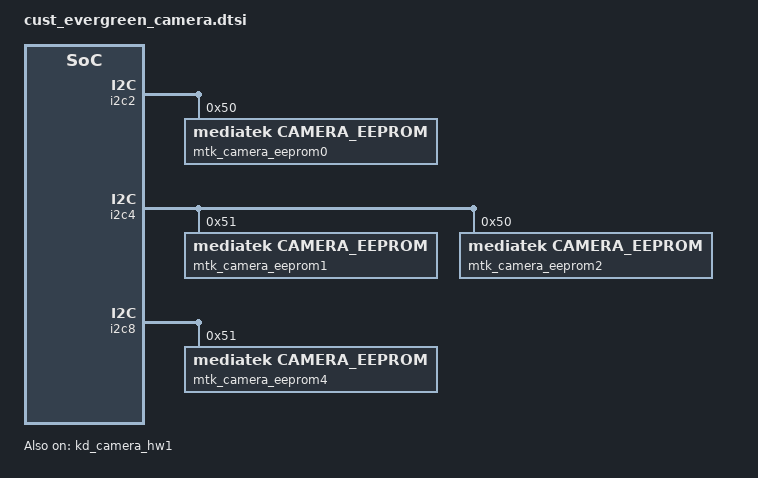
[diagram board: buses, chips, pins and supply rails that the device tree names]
/*
 * Copyright (c) 2019 MediaTek Inc.
 * Copyright (C) 2021 XiaoMi, Inc.
 *
 * This program is free software; you can redistribute it and/or modify
 * it under the terms of the GNU General Public License version 2 as
 * published by the Free Software Foundation.
 *
 * This program is distributed in the hope that it will be useful,
 * but WITHOUT ANY WARRANTY; without even the implied warranty of
 * MERCHANTABILITY or FITNESS FOR A PARTICULAR PURPOSE.  See the
 * GNU General Public License for more details.
 */
/* CAMERA GPIO standardization */
&pio {
	camera_pins_cam0_rst_0: cam0@0 {
		pins_cmd_dat {
			pinmux = <PINMUX_GPIO54__FUNC_GPIO54>;
			slew-rate = <1>;
			output-low;
		};
	};
	camera_pins_cam0_rst_1: cam0@1 {
		pins_cmd_dat {
			pinmux = <PINMUX_GPIO54__FUNC_GPIO54>;
			slew-rate = <1>;
			output-high;
		};
	};

	camera_pins_cam1_rst_0: cam1@0 {
		pins_cmd_dat {
			pinmux = <PINMUX_GPIO60__FUNC_GPIO60>;
			slew-rate = <1>;
			output-low;
		};
	};
	camera_pins_cam1_rst_1: cam1@1 {
		pins_cmd_dat {
			pinmux = <PINMUX_GPIO60__FUNC_GPIO60>;
			slew-rate = <1>;
			output-high;
		};
	};

	camera_pins_cam2_rst_0: cam2@0 {
		pins_cmd_dat {
			pinmux = <PINMUX_GPIO58__FUNC_GPIO58>;
			slew-rate = <1>;
			output-low;
		};
	};
	camera_pins_cam2_rst_1: cam2@1 {
		pins_cmd_dat {
			pinmux = <PINMUX_GPIO58__FUNC_GPIO58>;
			slew-rate = <1>;
			output-high;
		};
	};
	camera_pins_cam2_dvdd_off: ldo_vcamd2@0 {
		pins_cmd_dat {
			pinmux = <PINMUX_GPIO93__FUNC_GPIO93>;
			slew-rate = <1>;
			output-low;
		};
	};
	camera_pins_cam2_dvdd_on: ldo_vcamd2@1 {
		pins_cmd_dat {
			pinmux = <PINMUX_GPIO93__FUNC_GPIO93>;
			slew-rate = <1>;
			output-high;
		};
	};
	camera_pins_cam4_rst_0: cam4@0 {
		pins_cmd_dat {
			pinmux = <PINMUX_GPIO56__FUNC_GPIO56>;
			slew-rate = <1>;
			output-low;
		};
	};
	camera_pins_cam4_rst_1: cam4@1 {
		pins_cmd_dat {
			pinmux = <PINMUX_GPIO56__FUNC_GPIO56>;
			slew-rate = <1>;
			output-high;
		};
	};

	camera_pins_cam0_mclk_off: camera_pins_cam0_mclk_off {
		pins_cmd_dat {
			pinmux = <PINMUX_GPIO49__FUNC_GPIO49>;
			drive-strength = <1>;
		};
	};
	camera_pins_cam0_mclk_2ma: camera_pins_cam0_mclk_2ma {
		pins_cmd_dat {
			pinmux = <PINMUX_GPIO49__FUNC_CMMCLK0>;
			drive-strength = <0>;
		};
	};
	camera_pins_cam0_mclk_4ma: camera_pins_cam0_mclk_4ma {
		pins_cmd_dat {
			pinmux = <PINMUX_GPIO49__FUNC_CMMCLK0>;
			drive-strength = <1>;
		};
	};
	camera_pins_cam0_mclk_6ma: camera_pins_cam0_mclk_6ma {
		pins_cmd_dat {
			pinmux = <PINMUX_GPIO49__FUNC_CMMCLK0>;
			drive-strength = <2>;
		};
	};
	camera_pins_cam0_mclk_8ma: camera_pins_cam0_mclk_8ma {
		pins_cmd_dat {
			pinmux = <PINMUX_GPIO49__FUNC_CMMCLK0>;
			drive-strength = <3>;
		};
	};
	camera_pins_cam1_mclk_off: camera_pins_cam1_mclk_off {
		pins_cmd_dat {
			pinmux = <PINMUX_GPIO52__FUNC_GPIO52>;
			drive-strength = <1>;
		};
	};
	camera_pins_cam1_mclk_2ma: camera_pins_cam1_mclk_2ma {
		pins_cmd_dat {
			pinmux = <PINMUX_GPIO52__FUNC_CMMCLK3>;
			drive-strength = <0>;
		};
	};
	camera_pins_cam1_mclk_4ma: camera_pins_cam1_mclk_4ma {
		pins_cmd_dat {
			pinmux = <PINMUX_GPIO52__FUNC_CMMCLK3>;
			drive-strength = <1>;
		};
	};
	camera_pins_cam1_mclk_6ma: camera_pins_cam1_mclk_6ma {
		pins_cmd_dat {
			pinmux = <PINMUX_GPIO52__FUNC_CMMCLK3>;
			drive-strength = <2>;
		};
	};
	camera_pins_cam1_mclk_8ma: camera_pins_cam1_mclk_8ma {
		pins_cmd_dat {
			pinmux = <PINMUX_GPIO52__FUNC_CMMCLK3>;
			drive-strength = <3>;
		};
	};
	camera_pins_cam2_mclk_off: camera_pins_cam2_mclk_off {
		pins_cmd_dat {
			pinmux = <PINMUX_GPIO51__FUNC_GPIO51>;
			drive-strength = <1>;
		};
	};
	camera_pins_cam2_mclk_2ma: camera_pins_cam2_mclk_2ma {
		pins_cmd_dat {
			pinmux = <PINMUX_GPIO51__FUNC_CMMCLK2>;
			drive-strength = <0>;
		};
	};
	camera_pins_cam2_mclk_4ma: camera_pins_cam2_mclk_4ma {
		pins_cmd_dat {
			pinmux = <PINMUX_GPIO51__FUNC_CMMCLK2>;
			drive-strength = <1>;
		};
	};
	camera_pins_cam2_mclk_6ma: camera_pins_cam2_mclk_6ma {
		pins_cmd_dat {
			pinmux = <PINMUX_GPIO51__FUNC_CMMCLK2>;
			drive-strength = <2>;
		};
	};
	camera_pins_cam2_mclk_8ma: camera_pins_cam2_mclk_8ma {
		pins_cmd_dat {
			pinmux = <PINMUX_GPIO51__FUNC_CMMCLK2>;
			drive-strength = <3>;
		};
	};
	camera_pins_cam4_mclk_off: camera_pins_cam4_mclk_off {
		pins_cmd_dat {
			pinmux = <PINMUX_GPIO50__FUNC_GPIO50>;
			drive-strength = <1>;
		};
	};
	camera_pins_cam4_mclk_2ma: camera_pins_cam4_mclk_2ma {
		pins_cmd_dat {
			pinmux = <PINMUX_GPIO50__FUNC_CMMCLK1>;
			drive-strength = <0>;
		};
	};
	camera_pins_cam4_mclk_4ma: camera_pins_cam4_mclk_4ma {
		pins_cmd_dat {
			pinmux = <PINMUX_GPIO50__FUNC_CMMCLK1>;
			drive-strength = <1>;
		};
	};
	camera_pins_cam4_mclk_6ma: camera_pins_cam4_mclk_6ma {
		pins_cmd_dat {
			pinmux = <PINMUX_GPIO50__FUNC_CMMCLK1>;
			drive-strength = <2>;
		};
	};
	camera_pins_cam4_mclk_8ma: camera_pins_cam4_mclk_8ma {
		pins_cmd_dat {
			pinmux = <PINMUX_GPIO50__FUNC_CMMCLK1>;
			drive-strength = <3>;
		};
	};

	camera_pins_cam_mipi_switch_sel_1: mipi_sel@1 {
		pins_cmd_dat {
			pinmux = <PINMUX_GPIO43__FUNC_GPIO43>;
			slew-rate = <1>;
			output-high;
		};
	};
	camera_pins_cam_mipi_switch_sel_0: mipi_sel@0 {
		pins_cmd_dat {
			pinmux = <PINMUX_GPIO43__FUNC_GPIO43>;
			slew-rate = <1>;
			output-low;
		};
	};
	// camera1 GPIO supply
        camera_pins_cam1_dvdd_off: ldo_vcamd@0{
                pins_cmd_dat {
                        pinmux = <PINMUX_GPIO93__FUNC_GPIO93>;
                        slew-rate = <1>;
                        output-low;
                };
        };
        camera_pins_cam1_dvdd_on: ldo_vcamd@1{
                pins_cmd_dat {
                        pinmux = <PINMUX_GPIO93__FUNC_GPIO93>;
                        slew-rate = <1>;
                        output-high;
                };
        };
	camera_pins_default: camdefault {
	};
};
&kd_camera_hw1 {
	pinctrl-names = "default",
			"cam0_rst0", "cam0_rst1",
			"cam1_rst0", "cam1_rst1",
			"cam2_rst0", "cam2_rst1",
			"cam4_rst0", "cam4_rst1",
			"cam0_mclk_off",
			"cam0_mclk_2mA", "cam0_mclk_4mA",
			"cam0_mclk_6mA", "cam0_mclk_8mA",
			"cam1_mclk_off",
			"cam1_mclk_2mA", "cam1_mclk_4mA",
			"cam1_mclk_6mA", "cam1_mclk_8mA",
			"cam2_mclk_off",
			"cam2_mclk_2mA", "cam2_mclk_4mA",
			"cam2_mclk_6mA", "cam2_mclk_8mA",
			"cam4_mclk_off",
			"cam4_mclk_2mA", "cam4_mclk_4mA",
			"cam4_mclk_6mA", "cam4_mclk_8mA",
			"cam_mipi_switch_sel_1", "cam_mipi_switch_sel_0",
		    "cam1_ldo_vcamd_0", "cam1_ldo_vcamd_1",
			"cam2_ldo_vcamd_0", "cam2_ldo_vcamd_1";
	pinctrl-0 = <&camera_pins_default>;
	pinctrl-1 = <&camera_pins_cam0_rst_0>;
	pinctrl-2 = <&camera_pins_cam0_rst_1>;
	pinctrl-3 = <&camera_pins_cam1_rst_0>;
	pinctrl-4 = <&camera_pins_cam1_rst_1>;
	pinctrl-5 = <&camera_pins_cam2_rst_0>;
	pinctrl-6 = <&camera_pins_cam2_rst_1>;
	pinctrl-7 = <&camera_pins_cam4_rst_0>;
	pinctrl-8 = <&camera_pins_cam4_rst_1>;
	pinctrl-9 = <&camera_pins_cam0_mclk_off>;
	pinctrl-10 = <&camera_pins_cam0_mclk_2ma>;
	pinctrl-11 = <&camera_pins_cam0_mclk_4ma>;
	pinctrl-12 = <&camera_pins_cam0_mclk_6ma>;
	pinctrl-13 = <&camera_pins_cam0_mclk_8ma>;
	pinctrl-14 = <&camera_pins_cam1_mclk_off>;
	pinctrl-15 = <&camera_pins_cam1_mclk_2ma>;
	pinctrl-16 = <&camera_pins_cam1_mclk_4ma>;
	pinctrl-17 = <&camera_pins_cam1_mclk_6ma>;
	pinctrl-18 = <&camera_pins_cam1_mclk_8ma>;
	pinctrl-19 = <&camera_pins_cam2_mclk_off>;
	pinctrl-20 = <&camera_pins_cam2_mclk_2ma>;
	pinctrl-21 = <&camera_pins_cam2_mclk_4ma>;
	pinctrl-22 = <&camera_pins_cam2_mclk_6ma>;
	pinctrl-23 = <&camera_pins_cam2_mclk_8ma>;
	pinctrl-24 = <&camera_pins_cam4_mclk_off>;
	pinctrl-25 = <&camera_pins_cam4_mclk_2ma>;
	pinctrl-26 = <&camera_pins_cam4_mclk_4ma>;
	pinctrl-27 = <&camera_pins_cam4_mclk_6ma>;
	pinctrl-28 = <&camera_pins_cam4_mclk_8ma>;
	pinctrl-29 = <&camera_pins_cam_mipi_switch_sel_1>;
	pinctrl-30 = <&camera_pins_cam_mipi_switch_sel_0>;
	pinctrl-31 = <&camera_pins_cam1_dvdd_off>;
	pinctrl-32 = <&camera_pins_cam1_dvdd_on>;
	pinctrl-33 = <&camera_pins_cam2_dvdd_off>;
	pinctrl-34 = <&camera_pins_cam2_dvdd_on>;

	cam0_vcamd-supply = <&wl2866d_dvdd1>;
        cam0_vcama-supply = <&wl2866d_avdd1>;
	cam0_vcamio-supply = <&mt_pmic_vtp_ldo_reg>;
        cam1_vcama-supply = <&wl2866d_avdd2>;
	cam1_vcamd-supply = <&wl2866d_dvdd2>;
	cam1_vcamio-supply = <&mt_pmic_vcamio_ldo_reg>;
	cam2_vcama-supply = <&wl2866d_avdd2>;
	cam2_vcamd-supply = <&wl2866d_dvdd2>;
	cam2_vcamio-supply = <&mt_pmic_vcamio_ldo_reg>;


        cam4_vcama-supply = <&wl2866d_avdd2>;
	cam4_vcamio-supply = <&mt_pmic_vcamio_ldo_reg>;

	status = "okay";
};
/* CAMERA GPIO end */

/* CAMERA specify sensor */
&kd_camera_hw1 {
	cam0_enable_sensor = "s5kjn1sunny_mipi_raw ov50c40ofilm_mipi_raw";
	cam1_enable_sensor = "ov16a1qofilm_mipi_raw ov16a1qqtech_mipi_raw";
	cam2_enable_sensor = "imx355ofilm_mipi_raw imx355sunny_mipi_raw";
	cam3_enable_sensor = "";
	cam4_enable_sensor = "";
};
/* CAMERA specify sensor end */

/* CAMERA EEPROM */
&i2c2 {
	mtk_camera_eeprom0:camera_eeprom0@50 {
		compatible = "mediatek,camera_eeprom";
		reg = <0x50>;
		status = "okay";
	};
};
&i2c4 {
	mtk_camera_eeprom1:camera_eeprom1@51 {
		compatible = "mediatek,camera_eeprom";
		reg = <0x51>;
		status = "okay";
	};
	mtk_camera_eeprom2:camera_eeprom2@50 {
		compatible = "mediatek,camera_eeprom";
		reg = <0x50>;
		status = "okay";
	};
};
&i2c8 {
	mtk_camera_eeprom4:camera_eeprom4@51 {
		compatible = "mediatek,camera_eeprom";
		reg = <0x51>;
		status = "okay";
	};
};
/* CAMERA EEPROM end */

&i2c6 {
        #include "wl2866d.dtsi"
};
